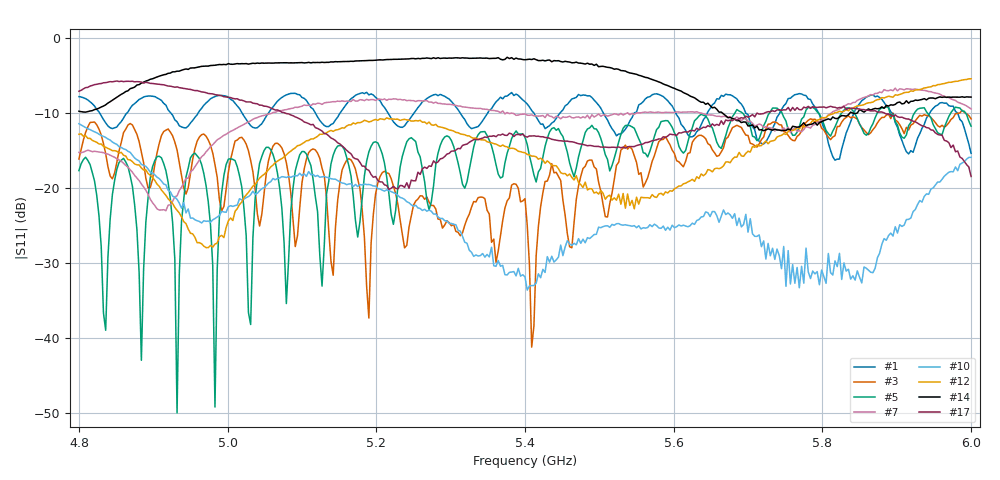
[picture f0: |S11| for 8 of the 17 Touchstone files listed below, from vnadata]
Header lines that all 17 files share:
! NanoVNA-App
! Start: 4.8GHz Stop: 6GHz Points: 401
! S-Parameter data: F S11
# Hz S RI R 50
!  Frequency  S11_Real  S11_Imag
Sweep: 4.8 GHz to 6 GHz
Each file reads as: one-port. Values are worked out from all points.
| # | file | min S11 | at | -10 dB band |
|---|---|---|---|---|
| 1 | acceltex4-01-5ghz.s1p | -16.3 dB | 5.817 GHz | 51.13 MHz wide |
| 2 | acceltex4-04-5ghz.s1p | -18.6 dB | 5.991 GHz | over 55.73 MHz wide |
| 3 | acceltex6-1-5ghz.s1p | -41.2 dB | 5.409 GHz | over 1.185 GHz wide |
| 4 | acceltex6-2-5ghz.s1p | -31.9 dB | 5.544 GHz | over 621.5 MHz wide |
| 5 | acceltex6-3-5ghz.s1p | -50.0 dB | 4.932 GHz | over 882.5 MHz wide |
| 6 | acceltex6-4-5ghz.s1p | -44.0 dB | 4.878 GHz | over 884.3 MHz wide |
| 7 | AL-01-5ghz.s1p | -23.0 dB | 4.917 GHz | over 260.3 MHz wide |
| 8 | ARS2557A-02-5ghz.s1p | -54.8 dB | 5.289 GHz | over 1.2 GHz wide |
| 9 | BF3R-01-5ghz.s1p | -45.5 dB | 4.989 GHz | over 1.2 GHz wide |
| 10 | BF3R-02-5ghz.s1p | -33.6 dB | 5.403 GHz | over 1.2 GHz wide |
| 11 | BF3R-04-5ghz.s1p | -55.0 dB | 5.394 GHz | over 1.2 GHz wide |
| 12 | BF3S - 04-5ghz.s1p | -27.9 dB | 4.971 GHz | over 1.017 GHz wide |
| 13 | BF6-1-5ghz.s1p | -13.6 dB | 5.772 GHz | 253.4 MHz wide |
| 14 | BF6-2-5ghz.s1p | -12.4 dB | 5.745 GHz | 172.1 MHz wide |
| 15 | BF6-3-5ghz.s1p | -20.8 dB | 5.82 GHz | over 328.6 MHz wide |
| 16 | BF6-4-5ghz.s1p | -11.9 dB | 5.712 GHz | 167.2 MHz wide |
| 17 | BF8 - 06-5ghz.s1p | -20.2 dB | 5.217 GHz | 646.3 MHz wide |
